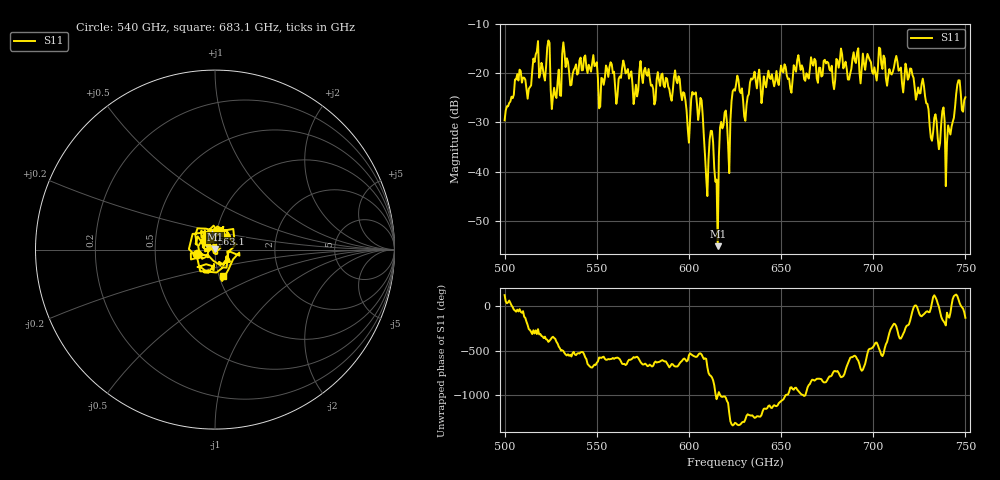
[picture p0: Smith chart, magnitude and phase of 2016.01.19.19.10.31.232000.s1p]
!Created with skrf (http://scikit-rf.org).
# GHz S RI R 50.0
!freq ReS11 ImS11
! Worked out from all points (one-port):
!   401 points, 500 GHz to 750 GHz, reference 50 ohm
!   lowest |S11| = -55.2 dB at 615.6 GHz (marker M1), VSWR 1.00, Z = 50 + j0.167 ohm
!   |S11| at or under -10 dB: start of sweep to end of sweep
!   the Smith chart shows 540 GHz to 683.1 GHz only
!   S11 on the Smith chart (normalised r, x): 540 GHz: 0.82, -0.04; 563.1 GHz: 0.95, +0.17; 683.1 GHz: 1.05, -0.32
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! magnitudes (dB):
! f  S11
! 500 GHz  -29.6
! 507.5 GHz  -21.5
! 513.1 GHz  -23.2
! 516.9 GHz  -16.1
! 523.8 GHz  -13.3
! 526.9 GHz  -22.9
! 531.2 GHz  -16.0
! 540 GHz  -19.9
! 562.5 GHz  -20.6
! 563.1 GHz  -20.9
! 593.8 GHz  -22.0
! 599.4 GHz  -31.3
! 606.2 GHz  -25.0
! 609.4 GHz  -41.2
! 611.9 GHz  -31.7
! 615.6 GHz  -55.2
! 618.1 GHz  -31.2
! 621.9 GHz  -40.3
! 625 GHz  -23.5
! 630.6 GHz  -29.7
! 634.4 GHz  -21.2
! 656.2 GHz  -21.3
! 683.1 GHz  -16.2
! 687.5 GHz  -20.1
! 718.8 GHz  -21.3
! 740.6 GHz  -30.6
! 745.6 GHz  -22.3
! 750 GHz  -24.9
